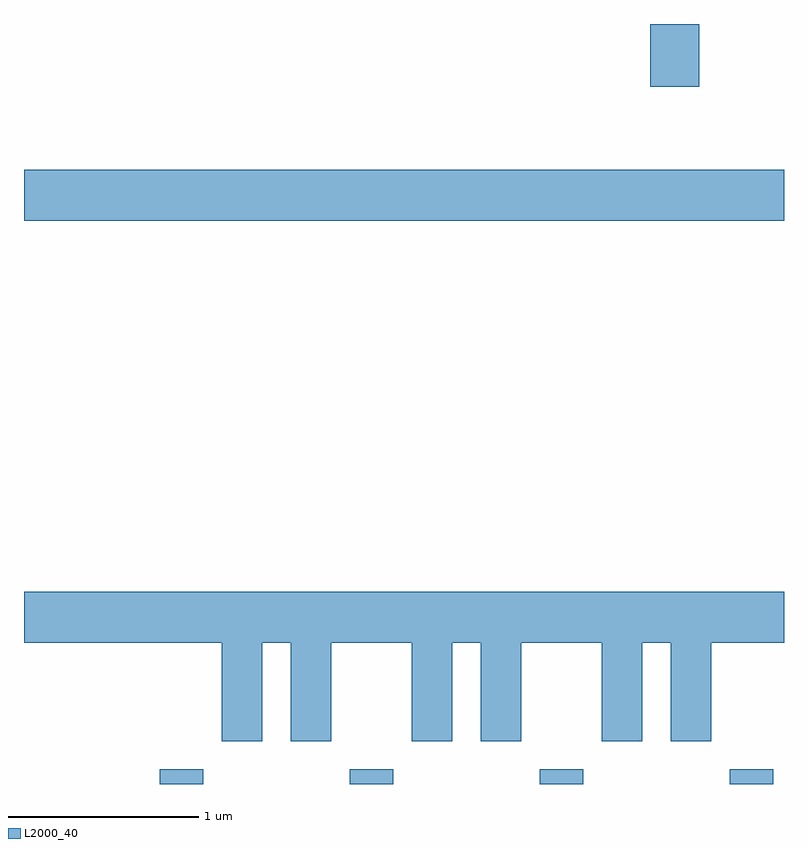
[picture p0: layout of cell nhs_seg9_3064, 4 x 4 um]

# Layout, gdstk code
import gdstk
lib = gdstk.Library(unit=1e-6, precision=1e-09)
def R(c, l, rs):  # rectangles x0, y0, x1, y1
    for r in rs: c.add(gdstk.rectangle(r[:2], r[2:], *l))
def A(c, l, x, y, w, h, nx, ny, dx, dy):  # array of equal rectangles
    R(c, l, [(x+i*dx, y+j*dy, x+i*dx+w, y+j*dy+h) for i in range(nx) for j in range(ny)])
def P(c, l, *ps):  # polygons
    for p in ps: c.add(gdstk.Polygon(p, *l))
L2000_40 = (2000, 40)

nhs_seg9_3064 = lib.new_cell('nhs_seg9_3064')
A(nhs_seg9_3064, L2000_40, 276.326, 1964.432, 0.228, 0.077, 4, 1, 1, 0)
R(nhs_seg9_3064, L2000_40, [(275.611,1967.396,279.611,1967.664), (278.906,1968.101,279.164,1968.432)])
P(nhs_seg9_3064, L2000_40, [(276.864,1965.176),(277.016,1965.176),(277.016,1964.656),(277.229,1964.656),(277.229,1965.176),(277.651,1965.176),(277.651,1964.656),(277.864,1964.656),(277.864,1965.176),(278.016,1965.176),(278.016,1964.656),(278.229,1964.656),(278.229,1965.176),(278.651,1965.176),(278.651,1964.656),(278.864,1964.656),(278.864,1965.176),(279.016,1965.176),(279.016,1964.656),(279.229,1964.656),(279.229,1965.176),(279.611,1965.176),(279.611,1965.444),(275.611,1965.444),(275.611,1965.176),(276.651,1965.176),(276.651,1964.656),(276.864,1964.656)])

lib.write_gds('nhs_seg9_3064.gds')
